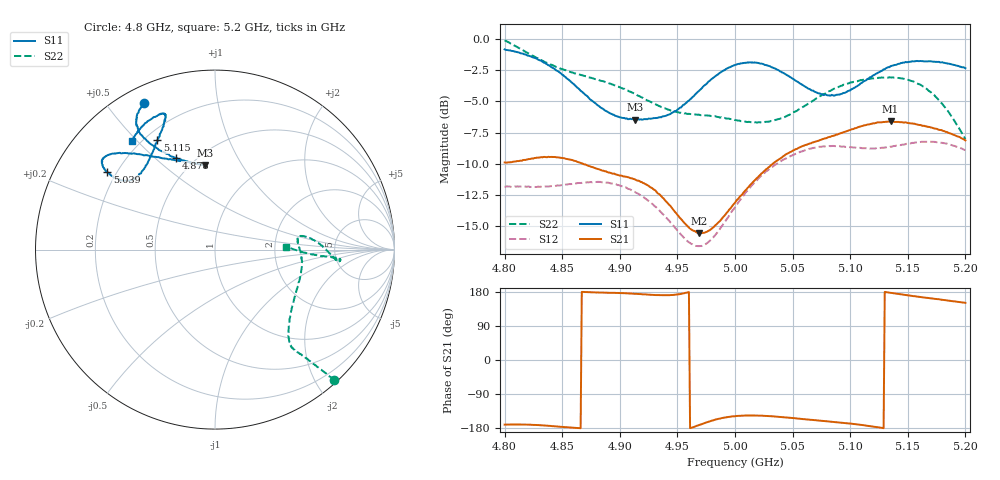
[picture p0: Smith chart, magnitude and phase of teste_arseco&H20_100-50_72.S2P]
! Network Analyzer HP8722D
! Hewlett-Packard
! Data name: Linha & Wilkinson
! Saver's name: Rodrigo Anjos
! Comments: Teste da utilização de aquisição
! continua pelo VNA HP8722D
! Time and date: 6/5/2025 13:10
!  Frequency  S11  S21  S12  S22
# HZ  S  MA R 50
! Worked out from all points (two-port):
!   401 points, 4.8 GHz to 5.2 GHz, reference 50 ohm
!   highest |S21| = -6.60 dB at 5.135 GHz (marker M1); lowest = -15.6 dB at 4.969 GHz (marker M2)
!   |S21| within 3 dB of the highest: 4.823 GHz to 4.853 GHz (30.44 MHz wide, 0.629 % of centre); 5.039 GHz to end of sweep
!   lowest |S11| = -6.5 dB at 4.913 GHz (marker M3), VSWR 2.81, Z = 29 + j35.3 ohm
!   |S11| at or under -10 dB: nowhere
!   |S22| runs from -8.0 to -0.1 dB; largest |S21 - S12| = 0.83
!   S11 on the Smith chart (normalised r, x): 4.8 GHz: 0.07, +0.62; 4.878 GHz: 0.40, +0.59; 5.039 GHz: 0.16, +0.32; 5.115 GHz: 0.25, +0.58; 5.2 GHz: 0.17, +0.48
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4.8e9  0.9066 116.0  0.3203 -170.6  0.2568 -86.2  0.9842 -47.5
4.833e9  0.8083 122.2  0.3357 -172.5  0.2556 -77.2  0.8162 -49.5
4.849e9  0.7267 122.1  0.3342 -176.4  0.2596 -71.9  0.7581 -50.5
4.867e9  0.6144 117.9  0.3179 179.8  0.2655 -67.3  0.7147 -51.5
4.878e9  0.5556 113.0  0.3046 178.5  0.2674 -66.0  0.6914 -51.9
4.898e9  0.4891 102.4  0.2857 177.0  0.26 -66.4  0.6442 -50.4
4.913e9  0.4746 96.7  0.2743 174.9  0.2444 -67.9  0.6017 -47.0
4.934e9  0.4849 99.2  0.2395 171.0  0.2071 -69.3  0.5381 -37.6
4.948e9  0.5142 107.7  0.2029 172.2  0.1754 -66.5  0.511 -28.3
4.969e9  0.6209 123.5  0.1668 -171.3  0.1484 -47.9  0.4967 -15.1
4.981e9  0.6976 129.9  0.1759 -159.4  0.1605 -33.9  0.4896 -8.9
5e9  0.7859 137.3  0.2211 -148.5  0.2121 -21.4  0.4731 -0.3
5.019e9  0.8023 141.8  0.2775 -146.7  0.2716 -18.3  0.4621 5.9
5.039e9  0.7406 144.2  0.3316 -150.0  0.322 -18.3  0.4787 9.0
5.067e9  0.6202 141.9  0.3846 -158.1  0.3653 -20.5  0.5624 4.7
5.088e9  0.597 133.0  0.4138 -164.0  0.3716 -23.7  0.6374 -1.7
5.115e9  0.6906 117.7  0.4539 -173.7  0.3644 -26.6  0.6893 -5.4
5.134e9  0.7695 111.1  0.4656 177.8  0.3689 -28.7  0.7009 -4.8
5.135e9  0.7764 111.2  0.4679 177.4  0.3704 -28.7  0.7008 -4.7
5.164e9  0.8116 113.4  0.4489 164.9  0.3875 -36.0  0.6431 -3.7
5.182e9  0.8009 119.7  0.4267 158.1  0.3824 -41.6  0.5337 -2.7
5.2e9  0.7624 127.4  0.3922 150.8  0.3589 -46.3  0.397 2.4
